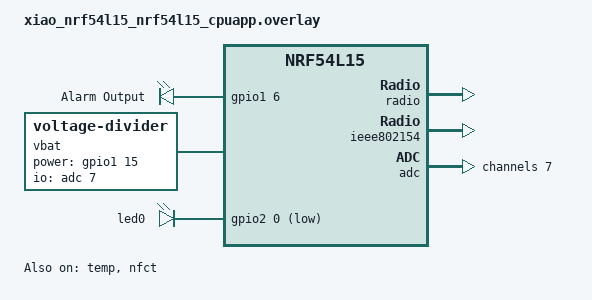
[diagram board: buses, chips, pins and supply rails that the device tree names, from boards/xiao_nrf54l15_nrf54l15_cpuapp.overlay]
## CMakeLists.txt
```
# SPDX-License-Identifier: MIT

cmake_minimum_required(VERSION 3.20.0)

find_package(Zephyr REQUIRED HINTS $ENV{ZEPHYR_BASE})
project(ot_coap)

target_include_directories(app PRIVATE src)

target_sources(app PRIVATE
    src/main.c
    src/coap_utils.c
    src/network_monitor.c
    src/coap_observe.c
)

target_sources_ifdef(CONFIG_OT_COAP_SAMPLE_SHELL app PRIVATE src/coap_shell.c)

target_sources_ifdef(CONFIG_OT_COAP_SAMPLE_SERVER app PRIVATE src/coap_discovery.c)
target_sources_ifdef(CONFIG_OT_COAP_SAMPLE_LED app PRIVATE src/led.c)
target_sources_ifdef(CONFIG_OT_COAP_SAMPLE_SW app PRIVATE src/button.c)
target_sources_ifdef(CONFIG_OT_COAP_SAMPLE_BATTERY app PRIVATE src/battery.c)
target_sources_ifdef(CONFIG_OT_COAP_SAMPLE_UPTIME app PRIVATE src/uptime.c)
target_sources_ifdef(CONFIG_OT_COAP_NFC_COMMISSION app PRIVATE src/nfc_commission.c)

include(${ZEPHYR_BASE}/samples/net/common/common.cmake)

set(gen_dir ${ZEPHYR_BINARY_DIR}/include/generated/)
```

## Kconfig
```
# Config options for OpenThread Border CoAP sample app

# Copyright (c) 2024-2025
# SPDX-License-Identifier: MIT

mainmenu "OpenThread CoAP Sample"

menu "Application configuration"

config OT_COAP_SAMPLE_SERVER
	bool "Build the sample CoAP server application"

config OT_COAP_SAMPLE_LED
	bool "Enable LED support"
	default y

config OT_COAP_SAMPLE_SW
	bool "Enable switch support"
	default y

config OT_COAP_SAMPLE_BATTERY
	bool "Enable battery sensor support"
	default y

config OT_COAP_SAMPLE_UPTIME
	bool "Enable uptime resource"
	default y
	help
	  Enable the /uptime CoAP resource that returns milliseconds
	  since boot. Used by the bridge to detect device reboots
	  and re-register CoAP Observe subscriptions.

config OT_COAP_SAMPLE_SHELL
	bool "Enable CoAP shell commands for debugging"
	default y
	depends on SHELL
	help
	  Enable shell commands (ot_coap) for testing LED control
	  and button state from the command line. Disable for
	  production builds to save ~150 lines of code.

config DEFAULT_ANTENNA_EXTERNAL
	bool "Use external IPEX antenna as default"
	default n
	help
	  Drive the RF switch (P2.03 power, P2.05 select) at boot to select
	  the external IPEX antenna instead of the ceramic on-board antenna.

config OT_COAP_NFC_COMMISSION
	bool "Enable NFC-based Thread commissioning"
	default y
	select NFC_T4T_NRFXLIB
	select NFC_NDEF
	select NFC_NDEF_MSG
	select NFC_NDEF_PARSER
	select NFC_NDEF_RECORD
	help
	  Enable NFC Type 4 Tag commissioning. Device will wait
	  for Thread Active Dataset via NFC if not already
	  commissioned. Use NFC Tools app on Android to write
	  a Text record containing the hex-encoded dataset.

endmenu

source "Kconfig.zephyr"
```

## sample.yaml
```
common:
  harness: net
  tags:
    - net
    - openthread
  depends_on: openthread
  min_flash: 140
sample:
  description: Runs the OpenThread stack as FTD with CoAP
  name: OpenThread FTD CoAP
tests:
  sample.net.openthread.ftd.coap.client:
    build_only: true
    platform_allow:
      - cc1352p7_lp
      - xiao_nrf54l15/nrf54l15/cpuapp
  sample.net.openthread.ftd.coap.server:
    build_only: true
    platform_allow:
      - cc1352p7_lp
      - xiao_nrf54l15/nrf54l15/cpuapp
    extra_configs:
      - CONFIG_OT_COAP_SAMPLE_SERVER=y
```

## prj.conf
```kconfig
CONFIG_NETWORKING=y
CONFIG_NET_L2_OPENTHREAD=y
CONFIG_OPENTHREAD_COAP=y
CONFIG_OPENTHREAD_SLAAC=y
CONFIG_JSON_LIBRARY=y

# Logging - disabled for battery deployment
# Use prj_uart.conf overlay for USB debugging
CONFIG_LOG=n
CONFIG_BOOT_BANNER=n

# Console and UART - disabled for battery-only boot
# Use prj_uart.conf overlay for USB debugging
CONFIG_CONSOLE=n
CONFIG_UART_CONSOLE=n
CONFIG_SERIAL=n

# Kernel options
CONFIG_MAIN_STACK_SIZE=4096
CONFIG_INIT_STACKS=y
# System workqueue needs larger stack for OpenThread API calls (NFC commissioning)
CONFIG_SYSTEM_WORKQUEUE_STACK_SIZE=4096

# Shell disabled for battery deployment (no UART backend)
# Enable via prj_uart.conf overlay for debugging
CONFIG_SHELL=n
CONFIG_OPENTHREAD_SHELL=n
CONFIG_OPENTHREAD_PING_SENDER=n
CONFIG_NET_SHELL=n

# OpenThread logging disabled for battery deployment
CONFIG_OPENTHREAD_DEBUG=n

# Maximum TX power for better range (nRF54L15 supports up to +8 dBm)
CONFIG_OPENTHREAD_DEFAULT_TX_POWER=8

# NVS for persistent storage
# Note: CONFIG_SETTINGS is auto-enabled by OpenThread when CONFIG_FLASH=y
CONFIG_NVS=y

# Sensor support for temperature updates (required by nRF 802.15.4 radio)
CONFIG_SENSOR=y

# ADC support for battery voltage measurement
CONFIG_ADC=y

# Thread auto-start on boot (uses dataset stored in NVS)
CONFIG_OPENTHREAD_MANUAL_START=n

# Configure as MTD (Minimal Thread Device / Child) instead of FTD (Router)
# This makes the device act as an end device that attaches to routers
# Better for battery-powered or mobile devices that may lose connection
CONFIG_OPENTHREAD_MTD=y
CONFIG_OPENTHREAD_FTD=n

# MTD-specific optimizations for mobile devices
# Child timeout: time before parent removes this device (240s = 4 minutes)
CONFIG_OPENTHREAD_MLE_CHILD_TIMEOUT=240

# ============================================
# SED (Sleepy End Device) Configuration
# ============================================
# Enable SED mode - radio sleeps between polls for significant power savings
# Device wakes on: 1) poll timer (every 60s), 2) button GPIO interrupt
CONFIG_OPENTHREAD_MTD_SED=y

# Poll period: Wake every 15 seconds to receive queued CoAP requests
# NOTE: OTBR indirect TX timeout is ~7-15s, so 60s poll period causes message loss
# 15s ensures device polls before queued messages expire at OTBR
CONFIG_OPENTHREAD_POLL_PERIOD=5000

# Child supervision (recommended for SED reliability)
# Parent sends supervision frame if no traffic within interval
CONFIG_OPENTHREAD_CHILD_SUPERVISION_INTERVAL=129
# Child checks for supervision within this timeout
CONFIG_OPENTHREAD_CHILD_SUPERVISION_CHECK_TIMEOUT=190

# ============================================
# NFC Commissioning Configuration
# ============================================
# Enable NFC-based Thread dataset provisioning
# Device waits for dataset via NFC if not already commissioned
CONFIG_OT_COAP_NFC_COMMISSION=y

# NFC Type 4 Tag support (read-write mode for phone interaction)
CONFIG_NFC_T4T_NRFXLIB=y

# NDEF message support for parsing phone-written data
CONFIG_NFC_NDEF=y
CONFIG_NFC_NDEF_MSG=y
CONFIG_NFC_NDEF_PARSER=y
CONFIG_NFC_NDEF_RECORD=y
CONFIG_NFC_NDEF_TEXT_RECORD=y

# NFC threading configuration
CONFIG_NFC_THREAD_CALLBACK=y

# NDEF file size (Thread dataset max 254 bytes = 508 hex chars + overhead)
CONFIG_NDEF_FILE_SIZE=512

# Flash write support for NFC (if storing NDEF persistently)
CONFIG_MPU_ALLOW_FLASH_WRITE=y
CONFIG_FLASH=y
CONFIG_FLASH_PAGE_LAYOUT=y

# External IPEX antenna as default (drives P2.03 rfsw_pwr HIGH + P2.05 rfsw_ctl HIGH)
CONFIG_DEFAULT_ANTENNA_EXTERNAL=y
```

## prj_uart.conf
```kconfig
# SPDX-License-Identifier: MIT
#
# USB Debugging Overlay - Use when connected via USB for development
# Build: west build -p always -b xiao_nrf54l15/nrf54l15/cpuapp -- -DOVERLAY_CONFIG="prj_uart.conf"

# Enable UART for USB debugging
CONFIG_SERIAL=y
CONFIG_UART_CONSOLE=y
CONFIG_CONSOLE=y

# Enable logging via UART
CONFIG_LOG=y
CONFIG_LOG_BACKEND_UART=y
CONFIG_LOG_PRINTK=y
CONFIG_BOOT_BANNER=y

# Enable shell for debugging (OpenThread CLI)
CONFIG_SHELL=y
CONFIG_SHELL_BACKEND_SERIAL=y
CONFIG_OPENTHREAD_SHELL=y
CONFIG_OPENTHREAD_PING_SENDER=y

# Shell stack needs to be large enough for OpenThread dataset parsing
# Default 3168 is too small for "ot dataset set active <long hex>"
CONFIG_SHELL_STACK_SIZE=4096

# Disable NFC commissioning in debug build - use shell instead
# NFC T4T emulation conflicts with shell dataset commands
CONFIG_OT_COAP_NFC_COMMISSION=n
```

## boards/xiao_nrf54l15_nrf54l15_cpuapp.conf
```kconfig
# SPDX-License-Identifier: MIT
#
# CoAP Server configuration
# This enables server mode with LED and button resources

# Enable CoAP Server mode
CONFIG_OT_COAP_SAMPLE_SERVER=y

# Enable LED, button and battery support
CONFIG_OT_COAP_SAMPLE_LED=y
CONFIG_OT_COAP_SAMPLE_SW=y
CONFIG_OT_COAP_SAMPLE_BATTERY=y

# Enable shell commands for debugging (disable for production)
CONFIG_OT_COAP_SAMPLE_SHELL=n
```

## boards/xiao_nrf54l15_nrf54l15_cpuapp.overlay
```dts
/*
 * SPDX-License-Identifier: MIT
 *
 * OpenThread CoAP Server overlay for XIAO nRF54L15
 * Enables IEEE 802.15.4 radio support required for OpenThread
 */

/ {
	chosen {
		zephyr,ieee802154 = &ieee802154;
	};

	/* Override expansion board button with onboard button */
	aliases {
		sw0 = &usr_btn;
	};

	/* Alarm output pin - weak-high pulse via internal pull-up on LED ON */
	alarm_out {
		compatible = "gpio-leds";
		alarm_pin: alarm_pin_0 {
			gpios = <&gpio1 6 GPIO_ACTIVE_HIGH>;  /* P1.06 */
			label = "Alarm Output";
		};
	};

	/* Battery voltage measurement via voltage divider
	 * Schematic: VBAT -> TPS22916C -> R5(10K) -> ADC -> R6(10K) -> GND
	 * Divider ratio: 2.0 (full_ohms / output_ohms = 20K / 10K)
	 * Battery voltage = ADC reading * 2.0
	 */
	vbat: vbat {
		compatible = "voltage-divider";
		io-channels = <&adc 7>;    /* AIN7 - P1.14 */
		output-ohms = <10000>;     /* R6 - 10K bottom resistor */
		full-ohms = <20000>;       /* R5 + R6 - 20K total */
		power-gpios = <&gpio1 15 GPIO_ACTIVE_HIGH>; /* P1.15 - TPS22916C enable */
	};
};

/* Fix LED polarity - hardware is actually active-low (cathode to GPIO) */
&led0 {
	gpios = <&gpio2 0 GPIO_ACTIVE_LOW>;
};

/* Release RF switch pins from the regulator driver so main.c drives them directly.
 * P2.03 (rfsw_pwr) HIGH = switch powered, P2.05 (rfsw_ctl) HIGH = external IPEX antenna.
 */
&rfsw_pwr {
	status = "disabled";
};

&rfsw_ctl {
	status = "disabled";
};

&radio {
	status = "okay";
};

&ieee802154 {
	status = "okay";
};

&temp {
	status = "okay";
};

/* NFC Type 4 Tag peripheral for Thread commissioning via phone */
&nfct {
	status = "okay";
};

/* ADC configuration for battery voltage measurement */
&adc {
	#address-cells = <1>;
	#size-cells = <0>;
	status = "okay";

	channel@7 {
		reg = <7>;
		zephyr,gain = "ADC_GAIN_1_4";
		zephyr,reference = "ADC_REF_INTERNAL";
		zephyr,acquisition-time = <ADC_ACQ_TIME_DEFAULT>;
		zephyr,input-positive = <NRF_SAADC_AIN7>; /* P1.14 */
		zephyr,resolution = <12>;
		zephyr,oversampling = <4>;  /* 4x oversampling for noise reduction */
	};
};
```

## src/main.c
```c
/*
 * Copyright (c) 2024-2025
 *
 * SPDX-License-Identifier: MIT
 */

#include <zephyr/logging/log.h>
LOG_MODULE_REGISTER(coap);

#include <coap_utils.h>
#include "coap_discovery.h"
#include "network_monitor.h"

#ifdef CONFIG_OT_COAP_SAMPLE_LED
#include "led.h"
#endif /* CONFIG_OT_COAP_SAMPLE_LED */

#ifdef CONFIG_OT_COAP_SAMPLE_SW
#include "button.h"
#endif /* CONFIG_OT_COAP_SAMPLE_SW */

#ifdef CONFIG_OT_COAP_SAMPLE_BATTERY
#include "battery.h"
#endif /* CONFIG_OT_COAP_SAMPLE_BATTERY */

#ifdef CONFIG_OT_COAP_SAMPLE_UPTIME
#include "uptime.h"
#endif /* CONFIG_OT_COAP_SAMPLE_UPTIME */

#include <zephyr/drivers/gpio.h>

#ifdef CONFIG_OT_COAP_NFC_COMMISSION
#include <openthread/dataset.h>
#include <openthread/instance.h>
#include <openthread/thread.h>
#include <openthread/ip6.h>
#include <zephyr/net/openthread.h>
#include "nfc_commission.h"

/* sw0 button for re-commissioning: hold during reset to clear dataset */
static const struct gpio_dt_spec recommission_btn =
	GPIO_DT_SPEC_GET(DT_ALIAS(sw0), gpios);
#endif /* CONFIG_OT_COAP_NFC_COMMISSION */


int main(void)
{
	int ret;

	/* Initialize CoAP first - this starts OpenThread instance */
	ret = coap_init();
	if (ret) {
		return ret;
	}

#ifdef CONFIG_DEFAULT_ANTENNA_EXTERNAL
	/* Enable RF switch power (P2.03 HIGH) and select external IPEX antenna (P2.05 HIGH).
	 * Both pins are normally managed by regulator-fixed nodes (rfsw_pwr/rfsw_ctl)
	 * which are disabled in the overlay so we drive them directly here.
	 */
	{
		const struct device *gpio2 = DEVICE_DT_GET(DT_NODELABEL(gpio2));

		if (device_is_ready(gpio2)) {
			gpio_pin_configure(gpio2, 3, GPIO_OUTPUT | GPIO_OUTPUT_INIT_HIGH); /* rfsw_pwr */
			gpio_pin_configure(gpio2, 5, GPIO_OUTPUT | GPIO_OUTPUT_INIT_HIGH); /* rfsw_ctl */
			LOG_INF("Antenna: external IPEX");
		} else {
			LOG_ERR("gpio2 not ready");
		}
	}
#endif /* CONFIG_DEFAULT_ANTENNA_EXTERNAL */

#ifdef CONFIG_OT_COAP_NFC_COMMISSION
	/* Check if re-commissioning requested or device needs NFC commissioning */
	{
		otInstance *ot = openthread_get_default_instance();
		bool commissioned = false;

		if (ot) {
			/* Check if sw0 is held at boot to force re-commissioning */
			bool force_nfc = false;

			if (gpio_is_ready_dt(&recommission_btn)) {
				gpio_pin_configure_dt(&recommission_btn, GPIO_INPUT);
				k_sleep(K_MSEC(50)); /* debounce */

				if (gpio_pin_get_dt(&recommission_btn)) {
					LOG_INF("sw0 held at boot - clearing dataset for re-commissioning");

					openthread_mutex_lock();
					otThreadSetEnabled(ot, false);
					otIp6SetEnabled(ot, false);
					otInstanceErasePersistentInfo(ot);
					openthread_mutex_unlock();

					force_nfc = true;
				}
			}

			if (!force_nfc) {
				openthread_mutex_lock();
				commissioned = otDatasetIsCommissioned(ot);
				openthread_mutex_unlock();
			}

			if (!commissioned) {
				LOG_INF("Device not commissioned - starting NFC mode");

				ret = nfc_commission_init();
				if (ret) {
					LOG_ERR("NFC init failed: %d", ret);
					/* Continue anyway - device won't join network */
				} else {
					ret = nfc_commission_start();
					if (ret == 0) {
						LOG_INF("NFC commissioning complete");
					} else {
						LOG_ERR("NFC commissioning failed: %d", ret);
					}
					nfc_commission_stop();
				}
			} else {
				LOG_INF("Device already commissioned - skipping NFC");
			}
		}
	}
#endif /* CONFIG_OT_COAP_NFC_COMMISSION */

#ifdef CONFIG_OT_COAP_SAMPLE_SERVER
	/* Register CoAP resources AFTER CoAP initialization */
#ifdef CONFIG_OT_COAP_SAMPLE_LED
	coap_led_reg_rsc();
#endif /* CONFIG_OT_COAP_SAMPLE_LED */
#ifdef CONFIG_OT_COAP_SAMPLE_SW
	coap_btn_reg_rsc();
#endif /* CONFIG_OT_COAP_SAMPLE_SW */
#ifdef CONFIG_OT_COAP_SAMPLE_BATTERY
	coap_battery_reg_rsc();
	coap_voltage_reg_rsc();
#endif /* CONFIG_OT_COAP_SAMPLE_BATTERY */
#ifdef CONFIG_OT_COAP_SAMPLE_UPTIME
	coap_uptime_reg_rsc();
#endif /* CONFIG_OT_COAP_SAMPLE_UPTIME */

	/* Register .well-known/core resource discovery last */
	coap_wellknown_reg_rsc();

	/* Start network state monitoring for automatic reconnection */
	ret = network_monitor_start();
	if (ret) {
		LOG_ERR("Failed to start network monitor: %d", ret);
		/* Non-fatal - continue anyway */
	}
#endif /* CONFIG_OT_COAP_SAMPLE_SERVER */

	return 0;
}
```

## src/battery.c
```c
/*
 * Copyright (c) 2024-2025
 *
 * SPDX-License-Identifier: MIT
 */

#include <zephyr/logging/log.h>
LOG_MODULE_DECLARE(coap);

#include <zephyr/device.h>
#include <zephyr/devicetree.h>
#include <zephyr/drivers/adc.h>
#include <zephyr/drivers/gpio.h>

#include "coap_utils.h"
#include "battery.h"

/*
 * ============================================================
 * ADC Configuration from Device Tree
 * ============================================================
 */
#define VBAT_NODE DT_PATH(vbat)

#if DT_NODE_EXISTS(VBAT_NODE)
/* ADC channel spec from voltage-divider node */
static const struct adc_dt_spec vbat_adc = ADC_DT_SPEC_GET(VBAT_NODE);

/* GPIO for TPS22916C load switch enable (saves power when not measuring) */
static const struct gpio_dt_spec vbat_enable = GPIO_DT_SPEC_GET(VBAT_NODE, power_gpios);

/* Voltage divider ratio from device tree: full_ohms / output_ohms */
#define VBAT_DIVIDER_FULL   DT_PROP(VBAT_NODE, full_ohms)
#define VBAT_DIVIDER_OUTPUT DT_PROP(VBAT_NODE, output_ohms)

/* ADC sample buffer and sequence */
static int16_t adc_sample_buffer;
static struct adc_sequence adc_sequence = {
	.buffer = &adc_sample_buffer,
	.buffer_size = sizeof(adc_sample_buffer),
};

static bool battery_adc_initialized = false;
#endif /* DT_NODE_EXISTS(VBAT_NODE) */

/* Last measured values */
static int32_t battery_voltage_mv = BATTERY_VOLTAGE_MV_DEFAULT;
static int32_t battery_percentage = BATTERY_PERCENTAGE_DEFAULT;

/* Timestamp of last measurement (for staleness check) */
static int64_t last_measurement_time_ms = 0;

/* Maximum age of cached voltage before triggering fresh measurement (120 seconds) */
#define VOLTAGE_STALE_THRESHOLD_MS (120 * 1000)

#if DT_NODE_EXISTS(VBAT_NODE)

/*
 * ============================================================
 * LiPo Battery Discharge Curve Lookup Table
 * ============================================================
 * Non-linear discharge curve for typical LiPo 3.7V cell
 * Based on actual discharge characteristics at ~0.2C rate
 */
struct voltage_percent_entry {
	int32_t voltage_mv;
	int32_t percentage;
};

static const struct voltage_percent_entry lipo_discharge_table[] = {
	{ 4200, 100 },  /* Fully charged */
	{ 4150,  95 },
	{ 4100,  90 },
	{ 4050,  85 },
	{ 4000,  80 },
	{ 3950,  75 },
	{ 3900,  70 },
	{ 3850,  65 },
	{ 3800,  60 },  /* Nominal voltage */
	{ 3750,  55 },
	{ 3700,  50 },
	{ 3650,  45 },
	{ 3600,  40 },
	{ 3550,  35 },
	{ 3500,  30 },
	{ 3450,  25 },
	{ 3400,  20 },
	{ 3350,  15 },
	{ 3300,  10 },
	{ 3200,   5 },
	{ 3000,   0 },  /* Cutoff voltage - do not discharge below */
};

#define LIPO_TABLE_SIZE ARRAY_SIZE(lipo_discharge_table)

/*
 * Calculate battery percentage from voltage using lookup table
 * with linear interpolation between points
 */
static int32_t voltage_to_percentage(int32_t voltage_mv)
{
	/* Handle edge cases */
	if (voltage_mv >= lipo_discharge_table[0].voltage_mv) {
		return 100;
	}
	if (voltage_mv <= lipo_discharge_table[LIPO_TABLE_SIZE - 1].voltage_mv) {
		return 0;
	}

	/* Find the two points to interpolate between */
	for (int i = 0; i < LIPO_TABLE_SIZE - 1; i++) {
		int32_t v_high = lipo_discharge_table[i].voltage_mv;
		int32_t v_low = lipo_discharge_table[i + 1].voltage_mv;

		if (voltage_mv <= v_high && voltage_mv > v_low) {
			/* Linear interpolation */
			int32_t p_high = lipo_discharge_table[i].percentage;
			int32_t p_low = lipo_discharge_table[i + 1].percentage;

			int32_t percentage = p_low +
				((voltage_mv - v_low) * (p_high - p_low)) / (v_high - v_low);
			return percentage;
		}
	}

	return 0;
}
/*
 * Initialize ADC and GPIO for battery measurement
 */
static int battery_adc_init(void)
{
	int ret;

	if (battery_adc_initialized) {
		return 0;
	}

	/* Check if ADC device is ready */
	if (!adc_is_ready_dt(&vbat_adc)) {
		LOG_ERR("ADC device not ready");
		return -ENODEV;
	}

	/* Setup ADC channel from device tree */
	ret = adc_channel_setup_dt(&vbat_adc);
	if (ret != 0) {
		LOG_ERR("ADC channel setup failed: %d", ret);
		return ret;
	}

	/* Initialize ADC sequence from device tree */
	ret = adc_sequence_init_dt(&vbat_adc, &adc_sequence);
	if (ret != 0) {
		LOG_ERR("ADC sequence init failed: %d", ret);
		return ret;
	}

	/* Check if GPIO device is ready */
	if (!device_is_ready(vbat_enable.port)) {
		LOG_ERR("VBAT enable GPIO not ready");
		return -ENODEV;
	}

	/* Configure GPIO as output, initially disabled (low) to save power */
	ret = gpio_pin_configure_dt(&vbat_enable, GPIO_OUTPUT_INACTIVE);
	if (ret != 0) {
		LOG_ERR("VBAT enable GPIO configure failed: %d", ret);
		return ret;
	}

	battery_adc_initialized = true;
	LOG_INF("Battery ADC initialized (divider: %d/%d = x%d.%d)",
		VBAT_DIVIDER_FULL, VBAT_DIVIDER_OUTPUT,
		VBAT_DIVIDER_FULL / VBAT_DIVIDER_OUTPUT,
		((VBAT_DIVIDER_FULL * 10) / VBAT_DIVIDER_OUTPUT) % 10);

	return 0;
}

/*
 * Perform battery voltage measurement
 * Enables TPS22916C, reads ADC, applies voltage divider correction, disables TPS22916C
 */
static int battery_measure(void)
{
	int ret;

	/* Initialize ADC if not already done */
	ret = battery_adc_init();
	if (ret != 0) {
		return ret;
	}

	/* Enable TPS22916C load switch to power voltage divider */
	ret = gpio_pin_set_dt(&vbat_enable, 1);
	if (ret != 0) {
		LOG_ERR("Failed to enable VBAT measurement: %d", ret);
		return ret;
	}

	/* Wait for TPS22916C turn-on and voltage divider to stabilize
	 * TPS22916C typical turn-on time: ~60µs
	 * Add margin for RC settling and ADC input capacitor charging
	 */
	k_sleep(K_MSEC(10));

	/* Perform ADC read */
	ret = adc_read_dt(&vbat_adc, &adc_sequence);

	/* Disable TPS22916C immediately after reading to save power */
	gpio_pin_set_dt(&vbat_enable, 0);

	if (ret != 0) {
		LOG_ERR("ADC read failed: %d", ret);
		return ret;
	}

	/* Convert raw ADC value to millivolts at ADC pin */
	int32_t adc_pin_mv = adc_sample_buffer;
	ret = adc_raw_to_millivolts_dt(&vbat_adc, &adc_pin_mv);
	if (ret != 0) {
		LOG_ERR("ADC conversion failed: %d", ret);
		return ret;
	}

	/* Apply voltage divider ratio: VBAT = Vadc * (full_ohms / output_ohms) */
	battery_voltage_mv = (adc_pin_mv * VBAT_DIVIDER_FULL) / VBAT_DIVIDER_OUTPUT;

	/* Calculate percentage from voltage using lookup table */
	battery_percentage = voltage_to_percentage(battery_voltage_mv);

	/* Update timestamp for staleness tracking */
	last_measurement_time_ms = k_uptime_get();

	LOG_INF("Battery: %d mV (%d%%), ADC pin: %d mV, raw: %d",
		battery_voltage_mv, battery_percentage, adc_pin_mv, adc_sample_buffer);

	return 0;
}
#else
/* Fallback when VBAT node doesn't exist in device tree */
static int battery_measure(void)
{
	LOG_WRN("Battery ADC not configured in device tree, using defaults");
	return 0;
}
#endif /* DT_NODE_EXISTS(VBAT_NODE) */

#ifdef CONFIG_OT_COAP_SAMPLE_SERVER

/*
 * JSON descriptors for battery percentage response
 */
static const struct json_obj_descr json_battery_get_descr[] = {
	JSON_OBJ_DESCR_PRIM(struct json_battery_get, device_id, JSON_TOK_STRING),
	JSON_OBJ_DESCR_PRIM(struct json_battery_get, value, JSON_TOK_NUMBER),
};

/*
 * JSON descriptors for voltage response
 */
static const struct json_obj_descr json_voltage_get_descr[] = {
	JSON_OBJ_DESCR_PRIM(struct json_voltage_get, device_id, JSON_TOK_STRING),
	JSON_OBJ_DESCR_PRIM(struct json_voltage_get, value, JSON_TOK_NUMBER),
};

/*
 * Battery percentage GET handler
 * Performs fresh measurement and returns: {"device_id":"<eui64>","value":70}
 */
static int battery_handler_get(void *ctx, otMessage *msg, const otMessageInfo *msg_info)
{
	uint8_t buf[COAP_MAX_BUF_SIZE];

	/* Perform fresh battery measurement */
	battery_measure();

	struct json_battery_get battery_data = {
		.device_id = coap_device_id(),
		.value = battery_percentage,
	};

	json_obj_encode_buf(json_battery_get_descr, ARRAY_SIZE(json_battery_get_descr),
			    &battery_data, buf, COAP_MAX_BUF_SIZE);

	LOG_INF("Battery GET: %d%%", battery_percentage);

	return coap_resp_send(msg, msg_info, buf, strlen(buf) + 1);
}

static void battery_handler(void *ctx, otMessage *msg, const otMessageInfo *msg_info)
{
	coap_req_handler(ctx, msg, msg_info, NULL, battery_handler_get);
}

static otCoapResource battery_rsc = {
	.mUriPath = BATTERY_URI,
	.mHandler = battery_handler,
	.mContext = NULL,
	.mNext = NULL,
};

void coap_battery_reg_rsc(void)
{
	otInstance *ot = openthread_get_default_instance();

	LOG_INF("Registering battery percentage resource");
	otCoapAddResource(ot, &battery_rsc);
}

/*
 * Voltage GET handler
 * Uses cached voltage from last measurement: {"device_id":"<eui64>","value":3800}
 * Value is in millivolts (3800 = 3.800V)
 *
 * If cached value is stale (>120s old), triggers fresh measurement first.
 * This handles cases where voltage is queried before battery, or battery query failed.
 */
static int voltage_handler_get(void *ctx, otMessage *msg, const otMessageInfo *msg_info)
{
	uint8_t buf[COAP_MAX_BUF_SIZE];
	int64_t now = k_uptime_get();
	int64_t age_ms = now - last_measurement_time_ms;

	/* Refresh measurement if cached value is stale or never measured */
	if (last_measurement_time_ms == 0 || age_ms > VOLTAGE_STALE_THRESHOLD_MS) {
		LOG_INF("Voltage cache stale (%lld ms old), refreshing...", age_ms);
		battery_measure();
	}

	struct json_voltage_get voltage_data = {
		.device_id = coap_device_id(),
		.value = battery_voltage_mv,
	};

	json_obj_encode_buf(json_voltage_get_descr, ARRAY_SIZE(json_voltage_get_descr),
			    &voltage_data, buf, COAP_MAX_BUF_SIZE);

	LOG_INF("Voltage GET: %d.%03dV", battery_voltage_mv / 1000, battery_voltage_mv % 1000);

	return coap_resp_send(msg, msg_info, buf, strlen(buf) + 1);
}

static void voltage_handler(void *ctx, otMessage *msg, const otMessageInfo *msg_info)
{
	coap_req_handler(ctx, msg, msg_info, NULL, voltage_handler_get);
}

static otCoapResource voltage_rsc = {
	.mUriPath = VOLTAGE_URI,
	.mHandler = voltage_handler,
	.mContext = NULL,
	.mNext = NULL,
};

void coap_voltage_reg_rsc(void)
{
	otInstance *ot = openthread_get_default_instance();

	LOG_INF("Registering voltage resource");
	otCoapAddResource(ot, &voltage_rsc);
}

#endif /* CONFIG_OT_COAP_SAMPLE_SERVER */
```

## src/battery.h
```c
/*
 * Copyright (c) 2024-2025
 *
 * SPDX-License-Identifier: MIT
 */

#ifndef COAP_BATTERY_H
#define COAP_BATTERY_H

#include <zephyr/data/json.h>

/* URI paths for resources */
#define BATTERY_URI  "battery"
#define VOLTAGE_URI  "voltage"

/*
 * ============================================================
 * DUMMY SENSOR VALUES - Adjust these constants for testing
 * ============================================================
 */
#define BATTERY_PERCENTAGE_DEFAULT  70    /* percent (0-100) */
#define BATTERY_VOLTAGE_MV_DEFAULT  3800  /* millivolts (3800 = 3.800V) */

/* JSON response structure for battery percentage */
struct json_battery_get {
	const char *device_id;
	int value;  /* percentage 0-100 */
};

/* JSON response structure for voltage */
struct json_voltage_get {
	const char *device_id;
	int value;  /* millivolts (3800 = 3.800V) */
};

#ifdef CONFIG_OT_COAP_SAMPLE_SERVER
void coap_battery_reg_rsc(void);
void coap_voltage_reg_rsc(void);
#endif /* CONFIG_OT_COAP_SAMPLE_SERVER */

#endif /* COAP_BATTERY_H */
```

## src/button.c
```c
/*
 * Copyright (c) 2024-2025
 *
 * SPDX-License-Identifier: MIT
 */

#include <zephyr/drivers/gpio.h>
#include <zephyr/logging/log.h>
LOG_MODULE_DECLARE(coap);

#include <openthread/link.h>

#include "coap_utils.h"
#include "coap_observe.h"
#include "button.h"

struct btn_rsc_data {
	const struct gpio_dt_spec gpio;
	struct gpio_callback cb;
	int last_state;
};

struct btn_rsc_ctx {
	struct btn_rsc_data *btn;
	int count;
	struct coap_observe_resource observe;
	struct k_work notify_work;  /* Work item for deferred notification */
};

static const struct json_obj_descr json_btn_state_descr[] = {
	JSON_OBJ_DESCR_PRIM(struct json_btn_state, btn_id, JSON_TOK_NUMBER),
	JSON_OBJ_DESCR_PRIM(struct json_btn_state, state, JSON_TOK_NUMBER),
};

static const struct json_obj_descr json_btn_get_descr[] = {
	JSON_OBJ_DESCR_PRIM(struct json_btn_get, device_id, JSON_TOK_STRING),
	JSON_OBJ_DESCR_OBJ_ARRAY(struct json_btn_get, btns, JSON_MAX_BTN, count,
				 json_btn_state_descr, ARRAY_SIZE(json_btn_state_descr)),
};

static K_SEM_DEFINE(btn_get_sem, 0, 1);

#ifdef CONFIG_OT_COAP_SAMPLE_SERVER

/* Forward declarations */
static struct btn_rsc_ctx btn_rsc_ctx;
static void btn_notify_work_handler(struct k_work *work);

static int btn_build_state_payload(struct btn_rsc_ctx *btn_ctx, uint8_t *buf, int buf_size)
{
	struct json_btn_get btn_data = {
		.device_id = coap_device_id(),
	};

	for (int i = 0; i < btn_ctx->count; i++) {
		btn_data.btns[i].btn_id = i;
		/* Use gpio_pin_get_dt which respects GPIO_ACTIVE_LOW/HIGH flags
		 * Returns 1 when button is pressed (active), 0 when not pressed
		 */
		btn_data.btns[i].state = gpio_pin_get_dt(&btn_ctx->btn[i].gpio);
	}
	btn_data.count = btn_ctx->count;

	json_obj_encode_buf(json_btn_get_descr, ARRAY_SIZE(json_btn_get_descr), &btn_data, buf,
			    buf_size);

	return strlen((char *)buf) + 1;
}

void btn_notify_observers(void)
{
	uint8_t buf[COAP_MAX_BUF_SIZE];
	int len;

	if (btn_rsc_ctx.observe.observer_count == 0) {
		return;
	}

	len = btn_build_state_payload(&btn_rsc_ctx, buf, COAP_MAX_BUF_SIZE);
	coap_observe_notify(&btn_rsc_ctx.observe, buf, len);
}

/* Work handler for deferred notification (called from thread context) */
static void btn_notify_work_handler(struct k_work *work)
{
	otInstance *ot = openthread_get_default_instance();

	LOG_INF("Button wake: triggering immediate poll for SED");

	/* Force immediate data request to activate radio and sync with parent.
	 * This is important for SED (Sleepy End Device) mode where the radio
	 * is normally off. The poll wakes the radio and retrieves any pending
	 * messages from the parent before we send our notification.
	 */
	otError err = otLinkSendDataRequest(ot);
	if (err == OT_ERROR_NONE) {
		/* Brief delay to allow poll completion and radio stabilization */
		k_sleep(K_MSEC(100));
	} else {
		LOG_WRN("Failed to send data request: %d", err);
	}

	LOG_INF("Sending button notification, observers=%d",
		btn_rsc_ctx.observe.observer_count);
	btn_notify_observers();

	/* Keep radio active long enough for the NON-confirmable CoAP notification
	 * to be transmitted. Without this delay, the SED may go back to sleep
	 * before the message is actually sent over the air.
	 */
	k_sleep(K_MSEC(200));
}

static int btn_handler_get(void *ctx, otMessage *msg, const otMessageInfo *msg_info)
{
	uint8_t buf[COAP_MAX_BUF_SIZE];
	struct btn_rsc_ctx *btn_ctx = ctx;
	uint32_t observe_seq = 0;
	int len;
	int ret;

	/* Handle Observe registration/deregistration */
	ret = coap_observe_handle(&btn_ctx->observe, msg, msg_info, &observe_seq);
	LOG_INF("btn observe_handle ret=%d, observers=%d", ret, btn_ctx->observe.observer_count);

	len = btn_build_state_payload(btn_ctx, buf, COAP_MAX_BUF_SIZE);

	/* If observe registered (ret == 0), include Observe option in response */
	if (ret == 0) {
		return coap_resp_send_observe(msg, msg_info, buf, len, observe_seq);
	}

	return coap_resp_send(msg, msg_info, buf, len);
}

static void btn_handler(void *ctx, otMessage *msg, const otMessageInfo *msg_info)
{
	coap_req_handler(ctx, msg, msg_info, NULL, btn_handler_get);
}

#define DEFINE_BTN_CTX(node_id)                                                                    \
	{                                                                                          \
		.gpio = GPIO_DT_SPEC_GET(node_id, gpios),                                          \
	},

#define DEFINE_BTNS_CTX(inst, compat, ...) DT_FOREACH_CHILD(DT_INST(inst, compat), DEFINE_BTN_CTX)

static struct btn_rsc_data btn_rsc_data[] = {
	DT_COMPAT_FOREACH_STATUS_OKAY_VARGS(gpio_keys, DEFINE_BTNS_CTX)};

static struct btn_rsc_ctx btn_rsc_ctx = {
	.btn = btn_rsc_data,
	.count = ARRAY_SIZE(btn_rsc_data),
};

static otCoapResource btn_rsc = {
	.mUriPath = BTN_URI,
	.mHandler = btn_handler,
	.mContext = &btn_rsc_ctx,
	.mNext = NULL,
};

/* GPIO interrupt callback - called when button state changes (ISR context) */
static void btn_gpio_callback(const struct device *dev, struct gpio_callback *cb, uint32_t pins)
{
	LOG_INF("Button GPIO interrupt fired, pins=0x%x", pins);
	/* Submit work to system workqueue - cannot call CoAP functions from ISR */
	int ret = k_work_submit(&btn_rsc_ctx.notify_work);
	LOG_INF("k_work_submit returned %d", ret);
}

static int button_init_rsc(otCoapResource *rsc)
{
	int ret = 0;

	struct btn_rsc_ctx *btn_ctx = rsc->mContext;

	LOG_INF("Initializing the buttons with observe support");
	for (int i = 0; i < btn_ctx->count; i++) {
		struct btn_rsc_data *btn = &btn_ctx->btn[i];
		const struct gpio_dt_spec *gpio = &btn->gpio;

		if (!gpio_is_ready_dt(gpio)) {
			LOG_ERR("Error: button device %s is not ready", gpio->port->name);
			return -ENODEV;
		}

		ret = gpio_pin_configure_dt(gpio, GPIO_INPUT);
		if (ret != 0) {
			LOG_ERR("Error %d: failed to configure %s pin %d", ret,
				gpio->port->name, gpio->pin);
			return ret;
		}

		/* Configure interrupt for both edges to detect press and release */
		ret = gpio_pin_interrupt_configure_dt(gpio, GPIO_INT_EDGE_BOTH);
		if (ret != 0) {
			LOG_ERR("Error %d: failed to configure interrupt on %s pin %d", ret,
				gpio->port->name, gpio->pin);
			return ret;
		}

		/* Setup GPIO callback for this button */
		gpio_init_callback(&btn->cb, btn_gpio_callback, BIT(gpio->pin));
		ret = gpio_add_callback(gpio->port, &btn->cb);
		if (ret != 0) {
			LOG_ERR("Error %d: failed to add callback for %s pin %d", ret,
				gpio->port->name, gpio->pin);
			return ret;
		}

		btn->last_state = gpio_pin_get_dt(gpio);
		LOG_INF("Button %d initialized (pin %d)", i, gpio->pin);
	}

	return ret;
}

void coap_btn_reg_rsc(void)
{
	otInstance *ot = openthread_get_default_instance();

	button_init_rsc(&btn_rsc);
	coap_observe_init(&btn_rsc_ctx.observe, BTN_URI);

	/* Initialize work item for deferred notification from ISR */
	k_work_init(&btn_rsc_ctx.notify_work, btn_notify_work_handler);

	LOG_INF("Registering button rsc with observe support");
	otCoapAddResource(ot, &btn_rsc);
}
#endif /* CONFIG_OT_COAP_SAMPLE_SERVER */

int button_init(const struct gpio_dt_spec *gpio)
{
	int ret;

	if (!gpio_is_ready_dt(gpio)) {
		LOG_ERR("Error: button device %s is not ready\n", gpio->port->name);
		return -ENODEV;
	}

	ret = gpio_pin_configure_dt(gpio, GPIO_INPUT);
	if (ret != 0) {
		LOG_ERR("Error %d: failed to configure %s pin %d\n", ret, gpio->port->name,
			gpio->pin);
		return ret;
	}

	ret = gpio_pin_interrupt_configure_dt(gpio, GPIO_INT_EDGE_TO_ACTIVE);
	if (ret != 0) {
		LOG_ERR("Error %d: failed to configure interrupt on %s pin %d\n", ret,
			gpio->port->name, gpio->pin);
		return ret;
	}

	return 0;
}

static void coap_btn_get_state_cb(void *ctx, otMessage *msg, const otMessageInfo *msg_info,
				  otError error)
{
	uint8_t buf[COAP_MAX_BUF_SIZE];
	int len = COAP_MAX_BUF_SIZE;
	struct json_btn_get *btn = (struct json_btn_get *)ctx;
	int ret;

	if (error != OT_ERROR_NONE) {
		LOG_WRN("Button GET request failed: error=%d", error);
		btn->count = 0;
		goto exit;
	}

	if (!msg) {
		LOG_WRN("Button GET: no response message");
		btn->count = 0;
		goto exit;
	}

	ret = coap_get_data(msg, buf, &len);
	if (ret) {
		LOG_ERR("Failed to extract button state data: %d", ret);
		btn->count = 0;
		goto exit;
	}

	ret = json_obj_parse(buf, len, json_btn_get_descr, ARRAY_SIZE(json_btn_get_descr), btn);
	if (ret < 0) {
		LOG_ERR("Failed to parse button state JSON: %d", ret);
		btn->count = 0;
	}

exit:
	k_sem_give(&btn_get_sem);
}

int coap_btn_get_state(const char *addr, int btn_id, int *state)
{
	struct json_btn_get btn;
	int ret;

	ret = coap_get_req_send(addr, BTN_URI, NULL, 0, coap_btn_get_state_cb, &btn);
	if (ret) {
		return ret;
	}

	/* Wait up to 30 seconds for CoAP response */
	ret = k_sem_take(&btn_get_sem, K_SECONDS(10));
	if (ret == -EAGAIN) {
		LOG_WRN("Timeout waiting for button state response");
		return -ETIMEDOUT;
	} else if (ret) {
		return ret;
	}

	if (btn_id >= btn.count) {
		return -ENODEV;
	}

	*state = btn.btns[btn_id].state;
	return ret;
}
```

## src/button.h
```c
/*
 * Copyright (c) 2024-2025
 *
 * SPDX-License-Identifier: MIT
 */

#ifndef COAP_BUTTON_H
#define COAP_BUTTON_H

#include <zephyr/drivers/gpio.h>
#include <zephyr/data/json.h>

#define BTN_URI "sw"

#define BTN_MSG_STATE_OFF 0
#define BTN_MSG_STATE_ON  1

#define JSON_MAX_BTN 4

struct json_btn_state {
	int btn_id;
	int state;
};

struct json_btn_get {
	const char *device_id;
	struct json_btn_state btns[JSON_MAX_BTN];
	int count;
};

int button_init(const struct gpio_dt_spec *gpio);
int coap_btn_get_state(const char *addr, int led_id, int *state);

#ifdef CONFIG_OT_COAP_SAMPLE_SERVER
void coap_btn_reg_rsc(void);
void btn_notify_observers(void);
#endif

#endif /* COAP_BUTTON_H */
```

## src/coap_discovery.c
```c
/*
 * Copyright (c) 2024-2025
 *
 * SPDX-License-Identifier: MIT
 */

#include <zephyr/logging/log.h>
LOG_MODULE_DECLARE(coap);

#include "coap_utils.h"

#ifdef CONFIG_OT_COAP_SAMPLE_SERVER

#define WELLKNOWN_CORE_URI ".well-known/core"

/*
 * Handler for .well-known/core resource discovery
 * Returns CoRE Link Format (RFC 6690) listing all available resources
 */
static int wellknown_handler_get(void *ctx, otMessage *msg, const otMessageInfo *msg_info)
{
	uint8_t buf[COAP_MAX_BUF_SIZE];
	int len = 0;

	/* Build CoRE Link Format response (compact - only rt= needed by bridge) */
	/* Format: </uri>;rt="type" */

#ifdef CONFIG_OT_COAP_SAMPLE_LED
	len += snprintf((char *)(buf + len), COAP_MAX_BUF_SIZE - len,
			"</led>;rt=\"led\",");
#endif

#ifdef CONFIG_OT_COAP_SAMPLE_SW
	len += snprintf((char *)(buf + len), COAP_MAX_BUF_SIZE - len,
			"</sw>;rt=\"button\",");
#endif

#ifdef CONFIG_OT_COAP_SAMPLE_BATTERY
	len += snprintf((char *)(buf + len), COAP_MAX_BUF_SIZE - len,
			"</battery>;rt=\"battery\",</voltage>;rt=\"voltage\",");
#endif

#ifdef CONFIG_OT_COAP_SAMPLE_UPTIME
	len += snprintf((char *)(buf + len), COAP_MAX_BUF_SIZE - len,
			"</uptime>;rt=\"uptime\",");
#endif

	/* Remove trailing comma if present */
	if (len > 0 && buf[len - 1] == ',') {
		buf[len - 1] = '\0';
		len--;
	}

	LOG_INF("Responding to .well-known/core request");

	return coap_resp_send(msg, msg_info, buf, len);
}

static void wellknown_handler(void *ctx, otMessage *msg, const otMessageInfo *msg_info)
{
	coap_req_handler(ctx, msg, msg_info, NULL, wellknown_handler_get);
}

static otCoapResource wellknown_rsc = {
	.mUriPath = WELLKNOWN_CORE_URI,
	.mHandler = wellknown_handler,
	.mContext = NULL,
	.mNext = NULL,
};

void coap_wellknown_reg_rsc(void)
{
	otInstance *ot = openthread_get_default_instance();

	LOG_INF("Registering .well-known/core resource");
	otCoapAddResource(ot, &wellknown_rsc);
}

#endif /* CONFIG_OT_COAP_SAMPLE_SERVER */
```

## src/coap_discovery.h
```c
/*
 * Copyright (c) 2024-2025
 *
 * SPDX-License-Identifier: MIT
 */

#ifndef COAP_DISCOVERY_H
#define COAP_DISCOVERY_H

#ifdef CONFIG_OT_COAP_SAMPLE_SERVER
void coap_wellknown_reg_rsc(void);
#endif /* CONFIG_OT_COAP_SAMPLE_SERVER */

#endif /* COAP_DISCOVERY_H */
```

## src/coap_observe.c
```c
/*
 * Copyright (c) 2024-2025
 *
 * SPDX-License-Identifier: MIT
 *
 * CoAP Observe (RFC 7641) support for push notifications
 */

#include <errno.h>
#include <string.h>
#include <zephyr/kernel.h>
#include <zephyr/logging/log.h>

LOG_MODULE_REGISTER(coap_observe, LOG_LEVEL_INF);

#include "coap_observe.h"
#include "coap_utils.h"

void coap_observe_init(struct coap_observe_resource *resource, const char *uri_path)
{
	memset(resource, 0, sizeof(*resource));
	resource->uri_path = uri_path;
	resource->observer_count = 0;
}

void coap_observe_clear(struct coap_observe_resource *resource)
{
	for (int i = 0; i < COAP_MAX_OBSERVERS; i++) {
		resource->observers[i].active = false;
	}
	resource->observer_count = 0;
	LOG_INF("Cleared all observers for %s", resource->uri_path);
}

static struct coap_observer *find_observer(struct coap_observe_resource *resource,
					   const otMessageInfo *msg_info)
{
	for (int i = 0; i < COAP_MAX_OBSERVERS; i++) {
		struct coap_observer *obs = &resource->observers[i];
		if (obs->active &&
		    otIp6IsAddressEqual(&obs->peer_info.mPeerAddr, &msg_info->mPeerAddr) &&
		    obs->peer_info.mPeerPort == msg_info->mPeerPort) {
			return obs;
		}
	}
	return NULL;
}

static struct coap_observer *alloc_observer(struct coap_observe_resource *resource)
{
	for (int i = 0; i < COAP_MAX_OBSERVERS; i++) {
		if (!resource->observers[i].active) {
			return &resource->observers[i];
		}
	}
	return NULL;
}

static int register_observer(struct coap_observe_resource *resource,
			     otMessage *msg, const otMessageInfo *msg_info)
{
	struct coap_observer *obs;
	uint8_t token_len;
	const uint8_t *token;

	/* Check if already registered */
	obs = find_observer(resource, msg_info);
	if (obs) {
		/* Update token */
		token = otCoapMessageGetToken(msg);
		token_len = otCoapMessageGetTokenLength(msg);
		memcpy(obs->token, token, token_len);
		obs->token_len = token_len;
		LOG_DBG("Updated observer for %s", resource->uri_path);
		return 0;
	}

	/* Allocate new observer */
	obs = alloc_observer(resource);
	if (!obs) {
		LOG_WRN("No free observer slots for %s", resource->uri_path);
		return -ENOMEM;
	}

	/* Store observer info */
	obs->active = true;
	memcpy(&obs->peer_info, msg_info, sizeof(otMessageInfo));
	/* Swap src/dst for response */
	obs->peer_info.mPeerAddr = msg_info->mPeerAddr;
	obs->peer_info.mPeerPort = msg_info->mPeerPort;

	token = otCoapMessageGetToken(msg);
	token_len = otCoapMessageGetTokenLength(msg);
	memcpy(obs->token, token, token_len);
	obs->token_len = token_len;
	obs->observe_seq = 0;
	obs->last_notify = k_uptime_get();

	resource->observer_count++;

	LOG_INF("Registered observer for %s (total: %d)",
		resource->uri_path, resource->observer_count);

	return 0;
}

static int deregister_observer(struct coap_observe_resource *resource,
			       const otMessageInfo *msg_info)
{
	struct coap_observer *obs = find_observer(resource, msg_info);

	if (obs) {
		obs->active = false;
		resource->observer_count--;
		LOG_INF("Deregistered observer for %s (remaining: %d)",
			resource->uri_path, resource->observer_count);
		return 0;
	}

	return -ENOENT;
}

/**
 * Get the Observe option value from a CoAP message
 * Returns 0 on success, -ENOENT if no Observe option
 */
static int get_observe_option(otMessage *msg, uint32_t *observe_value)
{
	const otCoapOption *option;
	otCoapOptionIterator iterator;
	otError err;
	uint64_t value;

	err = otCoapOptionIteratorInit(&iterator, msg);
	if (err != OT_ERROR_NONE) {
		LOG_DBG("Option iterator init failed: %d", err);
		return -EINVAL;
	}

	/* Find Observe option (option number 6) */
	option = otCoapOptionIteratorGetFirstOptionMatching(&iterator, OT_COAP_OPTION_OBSERVE);
	if (option == NULL) {
		/* No Observe option - this is normal for regular GET requests */
		return -ENOENT;
	}

	/* Use OpenThread's built-in uint value extraction */
	err = otCoapOptionIteratorGetOptionUintValue(&iterator, &value);
	if (err != OT_ERROR_NONE) {
		LOG_WRN("Failed to get Observe option value: %d", err);
		return -EINVAL;
	}

	*observe_value = (uint32_t)value;
	LOG_DBG("Observe option value: %u", *observe_value);

	return 0;
}

int coap_observe_handle(struct coap_observe_resource *resource,
			otMessage *msg, const otMessageInfo *msg_info,
			uint32_t *observe_seq)
{
	uint32_t observe_value;
	int ret;

	/* Check for Observe option */
	ret = get_observe_option(msg, &observe_value);
	if (ret != 0) {
		/* No Observe option - regular GET request */
		return -ENOENT;
	}

	if (observe_value == COAP_OBSERVE_REGISTER) {
		ret = register_observer(resource, msg, msg_info);
		if (ret == 0 && observe_seq != NULL) {
			/* Return sequence number for use in response */
			struct coap_observer *obs = find_observer(resource, msg_info);
			if (obs) {
				*observe_seq = obs->observe_seq;
			}
		}
		return ret;
	} else if (observe_value == COAP_OBSERVE_DEREGISTER) {
		deregister_observer(resource, msg_info);
		return 1; /* Deregistered - return 1 to indicate no observe in response */
	}

	return -EINVAL;
}

int coap_observe_notify(struct coap_observe_resource *resource,
			const uint8_t *payload, int payload_len)
{
	otInstance *ot;
	int sent = 0;

	ot = openthread_get_default_instance();
	if (!ot) {
		return -ENODEV;
	}

	for (int i = 0; i < COAP_MAX_OBSERVERS; i++) {
		struct coap_observer *obs = &resource->observers[i];
		otMessage *msg;
		otError err;

		if (!obs->active) {
			continue;
		}

		msg = otCoapNewMessage(ot, NULL);
		if (!msg) {
			LOG_ERR("Failed to allocate notification message");
			continue;
		}

		/* Initialize as NON-confirmable notification */
		otCoapMessageInit(msg, OT_COAP_TYPE_NON_CONFIRMABLE, OT_COAP_CODE_CONTENT);

		/* Set same token as observer registration */
		err = otCoapMessageSetToken(msg, obs->token, obs->token_len);
		if (err != OT_ERROR_NONE) {
			otMessageFree(msg);
			continue;
		}

		/* Add Observe option with sequence number */
		obs->observe_seq++;
		err = otCoapMessageAppendObserveOption(msg, obs->observe_seq);
		if (err != OT_ERROR_NONE) {
			otMessageFree(msg);
			continue;
		}

		/* Add Content-Format: application/json */
		err = otCoapMessageAppendContentFormatOption(msg, OT_COAP_OPTION_CONTENT_FORMAT_JSON);
		if (err != OT_ERROR_NONE) {
			otMessageFree(msg);
			continue;
		}

		/* Add payload */
		err = otCoapMessageSetPayloadMarker(msg);
		if (err != OT_ERROR_NONE) {
			otMessageFree(msg);
			continue;
		}

		err = otMessageAppend(msg, payload, payload_len);
		if (err != OT_ERROR_NONE) {
			otMessageFree(msg);
			continue;
		}

		/* Send notification */
		err = otCoapSendRequest(ot, msg, &obs->peer_info, NULL, NULL);
		if (err != OT_ERROR_NONE) {
			LOG_WRN("Failed to send notification to observer: %s",
				otThreadErrorToString(err));
			/* Mark observer as inactive on send failure */
			obs->active = false;
			resource->observer_count--;
			otMessageFree(msg);
			continue;
		}

		obs->last_notify = k_uptime_get();
		sent++;

		LOG_DBG("Sent notification %u to observer for %s",
			obs->observe_seq, resource->uri_path);
	}

	if (sent > 0) {
		LOG_INF("Notified %d observers for %s", sent, resource->uri_path);
	}

	return sent;
}
```

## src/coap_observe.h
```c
/*
 * Copyright (c) 2024-2025
 *
 * SPDX-License-Identifier: MIT
 *
 * CoAP Observe (RFC 7641) support for push notifications
 */

#ifndef COAP_OBSERVE_H
#define COAP_OBSERVE_H

#include <zephyr/net/openthread.h>
#include <openthread/coap.h>

/* Maximum number of observers per resource */
#define COAP_MAX_OBSERVERS 4

/* Observe option values */
#define COAP_OBSERVE_REGISTER   0
#define COAP_OBSERVE_DEREGISTER 1

/* Observer entry */
struct coap_observer {
	bool active;
	otMessageInfo peer_info;
	uint8_t token[8];
	uint8_t token_len;
	uint32_t observe_seq;
	uint64_t last_notify;  /* Timestamp of last notification */
};

/* Resource with observe support */
struct coap_observe_resource {
	const char *uri_path;
	struct coap_observer observers[COAP_MAX_OBSERVERS];
	int observer_count;
};

/**
 * Check if incoming request has Observe option and handle registration
 *
 * @param resource The observe resource
 * @param msg Incoming CoAP message
 * @param msg_info Message info with peer address
 * @param observe_seq Output: sequence number to use in response (only if registered)
 * @return 0 if observe registered, 1 if deregistered, -ENOENT if no observe option
 */
int coap_observe_handle(struct coap_observe_resource *resource,
			otMessage *msg, const otMessageInfo *msg_info,
			uint32_t *observe_seq);

/**
 * Send notification to all observers of a resource
 *
 * @param resource The observe resource
 * @param payload Payload buffer
 * @param payload_len Payload length
 * @return Number of notifications sent
 */
int coap_observe_notify(struct coap_observe_resource *resource,
			const uint8_t *payload, int payload_len);

/**
 * Initialize observe resource
 *
 * @param resource The observe resource to initialize
 * @param uri_path URI path for this resource
 */
void coap_observe_init(struct coap_observe_resource *resource, const char *uri_path);

/**
 * Remove all observers (e.g., on network disconnect)
 *
 * @param resource The observe resource
 */
void coap_observe_clear(struct coap_observe_resource *resource);

#endif /* COAP_OBSERVE_H */
```

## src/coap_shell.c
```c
/*
 * Copyright (c) 2024-2025
 *
 * SPDX-License-Identifier: MIT
 */

#include <zephyr/shell/shell.h>

#include "led.h"
#include "button.h"

static int coap_cmd_led_set(const struct shell *sh, size_t argc, char **argv)
{
	int led_id;
	int led_state;
	const char *addr;
	int err = 0;

	led_id = shell_strtol(argv[1], 10, &err);
	if (err) {
		shell_error(sh, "Failed to get a valid LED id: %s", argv[1]);
		return err;
	}

	if (!strcmp(argv[2], "on")) {
		led_state = LED_MSG_STATE_ON;
	} else if (!strcmp(argv[2], "off")) {
		led_state = LED_MSG_STATE_OFF;
	} else if (!strcmp(argv[2], "toggle")) {
		led_state = LED_MSG_STATE_TOGGLE;
	} else {
		shell_error(sh, "Failed to get a valid LED state");
		return -EINVAL;
	}

	if (argc <= 3) {
		addr = "ff03::1";
	} else {
		addr = argv[3];
	}

	return coap_led_set_state(addr, led_id, led_state);
}

static int coap_cmd_led_get(const struct shell *sh, size_t argc, char **argv)
{
	int led_id;
	int led_state;
	const char *addr;
	int err = 0;

	led_id = shell_strtol(argv[1], 10, &err);
	if (err) {
		shell_error(sh, "Failed to get a valid LED id: %s", argv[1]);
		return err;
	}

	if (argc <= 3) {
		addr = "ff03::1";
	} else {
		addr = argv[3];
	}

	err = coap_led_get_state(addr, led_id, &led_state);
	if (err) {
		return err;
	}

	if (led_state == LED_MSG_STATE_ON) {
		shell_info(sh, "on");
	} else {
		shell_info(sh, "off");
	}

	return 0;
}

static int coap_cmd_btn_get(const struct shell *sh, size_t argc, char **argv)
{
	int btn_id;
	int btn_state;
	const char *addr;
	int err = 0;

	btn_id = shell_strtol(argv[1], 10, &err);
	if (err) {
		shell_error(sh, "Failed to get a valid button id: %s", argv[1]);
		return err;
	}

	if (argc <= 3) {
		addr = "ff03::1";
	} else {
		addr = argv[3];
	}

	err = coap_btn_get_state(addr, btn_id, &btn_state);
	if (err) {
		return err;
	}

	if (btn_state == BTN_MSG_STATE_ON) {
		shell_info(sh, "on");
	} else {
		shell_info(sh, "off");
	}

	return 0;
}

static const char coap_cmd_led_set_help[] =
	"Set a LED state using CoAP\n"
	"led set <led_id> <led_state> [addr]\n"
	"\tled_id: a number defining the LED to control from CoAP server\n"
	"\tled_state: on, off or toggle\n"
	"\taddr: the IPv6 address of CoAP server. If not defined, it will broadcast to all CoAP "
	"servers\n";

static const char coap_cmd_led_get_help[] =
	"Get a LED state using CoAP\n"
	"led get <led_id> [addr]\n"
	"\tled_id: a number defining the LED to get from CoAP server\n"
	"\taddr: the IPv6 address of CoAP server. If not defined, it "
	"will broadcast to all CoAP servers\n";

SHELL_STATIC_SUBCMD_SET_CREATE(
	coap_led_subcmd, SHELL_CMD_ARG(set, NULL, coap_cmd_led_set_help, coap_cmd_led_set, 3, 1),
	SHELL_CMD_ARG(get, NULL, coap_cmd_led_get_help, coap_cmd_led_get, 2, 1),
	SHELL_SUBCMD_SET_END);

static const char coap_cmd_btn_get_help[] =
	"Get a button state using CoAP\n"
	"btn get <btn_id> [addr]\n"
	"\tbtn_id: a number defining the button to get from CoAP server\n"
	"\taddr: the IPv6 address of CoAP server. If not defined, it "
	"will broadcast to all CoAP servers\n";

SHELL_STATIC_SUBCMD_SET_CREATE(coap_btn_subcmd,
			       SHELL_CMD_ARG(get, NULL, coap_cmd_btn_get_help, coap_cmd_btn_get, 2,
					     1),
			       SHELL_SUBCMD_SET_END);

SHELL_STATIC_SUBCMD_SET_CREATE(coap_subcmd,
			       SHELL_CMD(led, &coap_led_subcmd, "Manage a LED using CoAP", NULL),
			       SHELL_CMD(btn, &coap_btn_subcmd, "Manage a button using CoAP", NULL),
			       SHELL_SUBCMD_SET_END);

SHELL_CMD_REGISTER(ot_coap, &coap_subcmd, "CoAP sample client", NULL);
```
